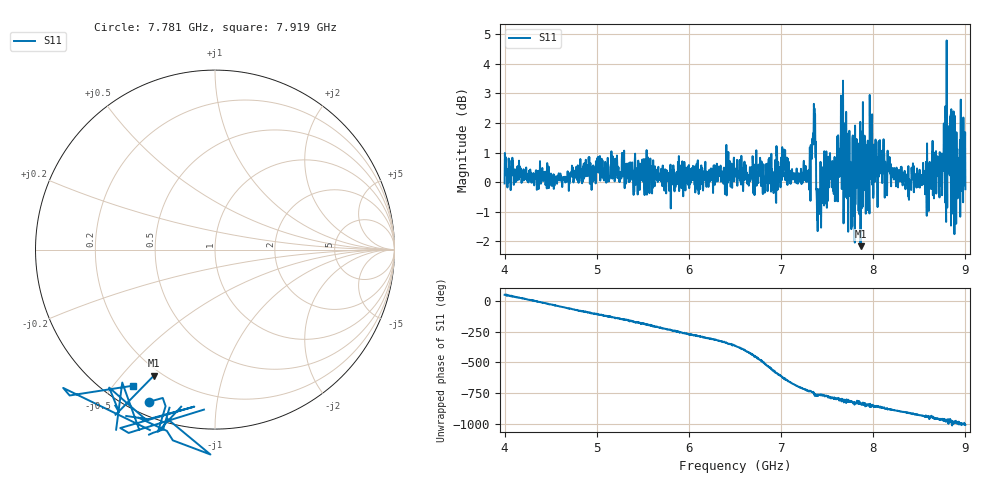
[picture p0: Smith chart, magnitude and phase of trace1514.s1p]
! Created with skrf 1.8.0 (http://scikit-rf.org).
# Hz S RI R 50.0
!freq ReS11 ImS11
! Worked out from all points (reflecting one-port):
!   1601 points, 4 GHz to 9 GHz, reference 50 ohm
!   lowest |S11| = -2.2 dB at 7.862 GHz (marker M1), VSWR 8.07, Z = 8.58 - j30.7 ohm
!   phase of S11 starts at 49 deg and turns -1058 deg over the sweep
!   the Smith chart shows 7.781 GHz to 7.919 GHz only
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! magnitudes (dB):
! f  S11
! 4 GHz  0.0
! 4.625 GHz  -0.2
! 5.25 GHz  0.0
! 5.875 GHz  0.4
! 6.5 GHz  0.3
! 6.809 GHz  0.6
! 6.862 GHz  0.2
! 6.922 GHz  0.1
! 7.038 GHz  0.7
! 7.125 GHz  0.3
! 7.294 GHz  0.2
! 7.347 GHz  1.6
! 7.409 GHz  -1.0
! 7.512 GHz  0.9
! 7.584 GHz  -0.6
! 7.647 GHz  0.6
! 7.75 GHz  0.0
! 7.775 GHz  1.5
! 7.862 GHz  -2.2
! 7.934 GHz  -0.9
! 7.962 GHz  2.9
! 8.022 GHz  0.5
! 8.375 GHz  0.1
! 8.738 GHz  0.6
! 8.822 GHz  1.1
! 8.875 GHz  0.5
! 8.972 GHz  0.8
! 9 GHz  -0.2
